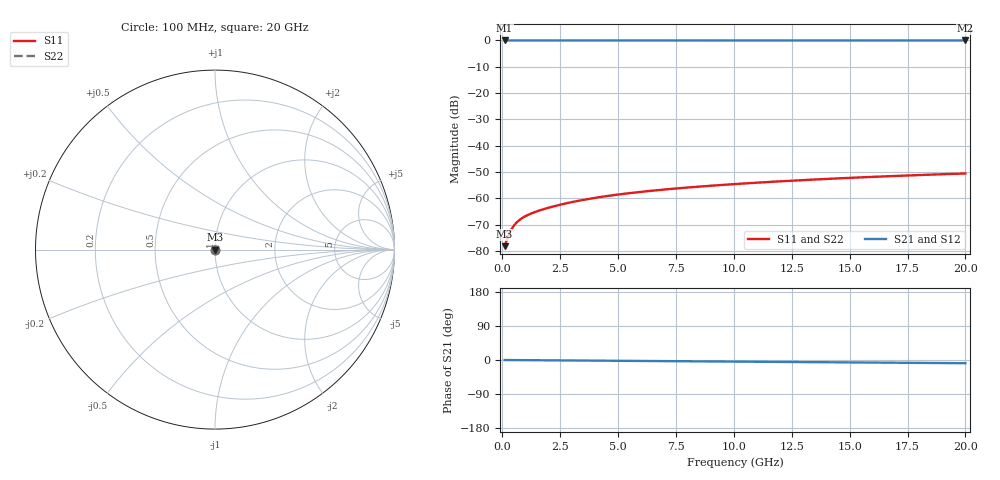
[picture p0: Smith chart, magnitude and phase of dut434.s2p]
! Touchstone file exported from HFSS 2026.1.0
!  File:  C:/ffzhzh/LocalFiles/Ansys_Project_Files/temp_train_TSV_434_1783021250_46388.aedt
!  Generated:  03:42:23 AM Jul  3, 2026
!  Design:  TSV
!  Project:  temp_train_TSV_434_1783021250_46388
! Variables:
!  h_bsmrdl = 2um
!  h_ox = 20um
!  h_rdl = 5um
!  h_sub = 84.64um
!  h_tmrdl = 5um
!  h_tsv = 84.64um
!  h_via = 3um
!  l_bsmrdl = 300um
!  l_sub = 422.72um
!  l_tmrdl = 200um
!  m_sub = 200um
!  pitch = 46.65um
!  r_tsv = 11.36um
!  s_tmrdl = 10um
!  w_bsmrdl = 18um
!  w_sub = 500um
!  w_tmrdl = 12um
!  x_tsv_center1 = 206um
!  x_tsv_center2 = 524um
!  x_tsv_center3 = 736um
!  x_tsv_center4 = 1054um
!  x_tsv_center5 = 1266um
!  x_tsv_center6 = 1584um
# GHz S MA R 50.000000
! Terminal data exported
! Port[1] = TSV1_1_T1
! Port[2] = TSV1_1_T2
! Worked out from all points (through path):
!   200 points, 100 MHz to 20 GHz, reference 50 ohm
!   highest |S21| = 0.00 dB at 100 MHz (marker M1); lowest = 0.0 dB at 20 GHz (marker M2)
!   group delay of S21, straight-line fit = 1.17 ps
!   lowest |S11| = -78.1 dB at 100 MHz (marker M3), VSWR 1.00, Z = 50 + j0.00576 ohm
!   |S11| at or under -10 dB: start of sweep to end of sweep
!   |S22| runs from -78.1 to -50.5 dB; largest |S21 - S12| = 3.1e-15
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0.1  0.0001239 27.7  0.9999 -0.0  0.9999 -0.0  0.0001239 27.7
! Gamma 0 0 0 0
! Port Impedance 50 0 50 0
0.2  0.0001661 42.3  0.9999 -0.1  0.9999 -0.1  0.0001661 42.3
0.3  0.0002144 48.3  0.9999 -0.1  0.9999 -0.1  0.0002144 48.3
0.4  0.0002612 50.6  0.9998 -0.2  0.9998 -0.2  0.0002612 50.6
0.5  0.000304 51.3  0.9998 -0.2  0.9998 -0.2  0.000304 51.3
0.6  0.0003423 51.3  0.9998 -0.3  0.9998 -0.3  0.0003423 51.3
0.7  0.0003764 51.2  0.9998 -0.3  0.9998 -0.3  0.0003764 51.2
0.9  0.0004347 50.8  0.9997 -0.4  0.9997 -0.4  0.0004347 50.8
1.1  0.0004841 50.7  0.9997 -0.5  0.9997 -0.5  0.000484 50.7
1.3  0.0005281 50.9  0.9997 -0.6  0.9997 -0.6  0.0005281 50.9
1.9  0.000647 52.4  0.9996 -0.8  0.9996 -0.8  0.000647 52.4
2.6  0.0007777 54.2  0.9995 -1.1  0.9995 -1.1  0.0007777 54.2
3.5  0.0009383 55.6  0.9995 -1.5  0.9995 -1.5  0.0009384 55.6
4.2  0.001057 56.3  0.9994 -1.8  0.9994 -1.8  0.001057 56.3
5  0.001184 56.7  0.9994 -2.1  0.9994 -2.1  0.001184 56.7
5.9  0.00132 57.0  0.9993 -2.5  0.9993 -2.5  0.00132 57.0
6.8  0.001448 57.3  0.9993 -2.9  0.9993 -2.9  0.001448 57.3
8.3  0.00165 57.6  0.9992 -3.5  0.9992 -3.5  0.00165 57.6
10.1  0.00188 57.9  0.9991 -4.3  0.9991 -4.3  0.00188 57.9
13.4  0.002275 58.0  0.999 -5.7  0.999 -5.7  0.002276 58.0
16.7  0.002642 57.7  0.9989 -7.1  0.9989 -7.1  0.002643 57.6
20  0.002977 57.0  0.9988 -8.4  0.9988 -8.4  0.002978 56.9
